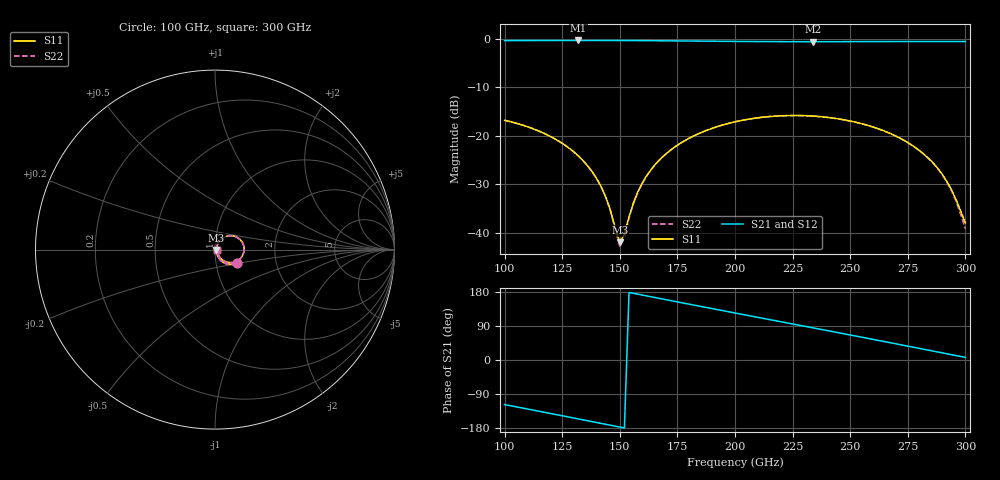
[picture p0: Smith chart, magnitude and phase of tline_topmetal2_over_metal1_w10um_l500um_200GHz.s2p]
#  GHZ S DB R 50
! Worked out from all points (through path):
!   101 points, 100 GHz to 300 GHz, reference 50 ohm
!   highest |S21| = -0.35 dB at 132 GHz (marker M1); lowest = -0.6 dB at 234 GHz (marker M2)
!   group delay of S21, straight-line fit = 3.26 ps
!   lowest |S11| = -41.9 dB at 150 GHz (marker M3), VSWR 1.02, Z = 50.8 - j0.142 ohm
!   |S11| at or under -10 dB: start of sweep to end of sweep
!   |S22| runs from -42.7 to -15.8 dB; largest |S21 - S12| = 1.6e-13
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100  -16.79 -31.3  -0.38 -117.7  -0.38 -117.7  -16.79 -31.8
118  -19.67 -50.1  -0.36 -138.9  -0.36 -138.9  -19.66 -50.9
132  -24.12 -63.0  -0.35 -155.5  -0.35 -155.5  -24.12 -64.1
134  -25.06 -64.4  -0.35 -157.9  -0.35 -157.9  -25.06 -65.6
140  -28.81 -66.7  -0.36 -165.0  -0.36 -165.0  -28.84 -68.4
144  -32.68 -63.9  -0.36 -169.8  -0.36 -169.8  -32.76 -66.2
150  -41.88 -10.0  -0.37 -177.0  -0.37 -177.0  -42.69 -11.8
152  -40.27 31.9  -0.37 -179.4  -0.37 -179.4  -40.85 33.8
154  -36.66 52.0  -0.38 178.3  -0.38 178.3  -36.91 53.9
158  -31.35 63.1  -0.39 173.5  -0.39 173.5  -31.42 64.1
162  -27.96 64.2  -0.40 168.7  -0.40 168.7  -28.00 64.7
168  -24.57 61.2  -0.42 161.6  -0.42 161.6  -24.59 61.3
182  -20.02 48.7  -0.48 145.1  -0.48 145.1  -20.02 48.5
200  -17.10 29.9  -0.55 124.1  -0.55 124.1  -17.10 29.4
218  -15.91 10.3  -0.59 103.2  -0.59 103.2  -15.91 9.6
234  -15.93 -7.2  -0.60 84.7  -0.60 84.7  -15.93 -8.1
250  -16.94 -24.5  -0.59 66.0  -0.59 66.0  -16.94 -25.6
268  -19.63 -43.1  -0.57 44.9  -0.57 44.9  -19.64 -44.6
280  -22.99 -53.8  -0.57 30.6  -0.57 30.6  -23.02 -55.8
288  -26.68 -57.9  -0.56 21.1  -0.56 21.1  -26.75 -60.7
294  -31.11 -54.7  -0.57 14.0  -0.57 14.0  -31.33 -58.8
300  -37.91 -21.4  -0.58 6.8  -0.58 6.8  -39.06 -25.9
